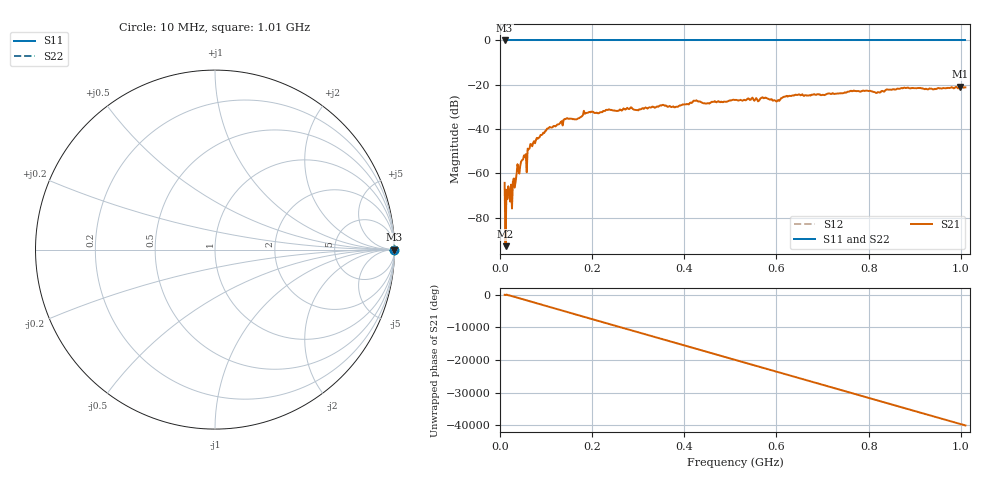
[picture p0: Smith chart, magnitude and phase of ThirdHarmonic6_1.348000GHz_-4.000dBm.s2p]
! 8/16/2025 3:09:20 PM
! C:\ANRITSUVNA\TEMP\TEMP.S2P
! CHANNEL.1
! TR.MEASUREMENT
! RAW.DATA
! RF.CORRECTION.OFF
! AVERAGING.OFF
! IF.BANDWIDTH: 5KHZ
! SWEEPTYPE:  FREQ.SWEEP(Linear)
! Reference Plane Port Info
! PORT:  PORT1  PORT2
! DISTANCE:  0  m  0  m
! TIME:  0  s  0  s
! PHASE.OFFSET:  0  deg.  0  deg.
! LOSS:  0  dB  0  dB
! REF.LOSS:  0  dB  0  dB
! REF.FREQ:  0  Hz  0  Hz
! Power Info
! POWER:  -20  dBm  -20  dBm
! EFF.POWER:  -20  dBm  -20  dBm
! SOURCE.ATTEN:  0  dB  0  dB
! TEST.ATTEN:  0  dB  0  dB
# GHZ S RI R 50.0
! FREQ.GHZ  S11RE  S11IM  S21RE  S21IM  S12RE  S12IM  S22RE  S22IM
!; PortSelection: Port_12
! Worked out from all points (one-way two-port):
!   501 points, 10 MHz to 1.01 GHz, reference 50 ohm
!   highest |S21| = -20.89 dB at 998 MHz (marker M1); lowest = -92.9 dB at 12 MHz (marker M2)
!   lowest |S11| = 0.0 dB at 10 MHz (marker M3)
!   |S11| at or under -10 dB: nowhere
!   |S22| runs from 0.0 to 0.0 dB; largest |S21 - S12| = 1.1
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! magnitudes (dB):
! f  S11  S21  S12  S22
! 10 MHz  0.0  -64.3  0.0  0.0
! 12 MHz  0.0  -92.9  0.0  0.0
! 16 MHz  0.0  -71.7  0.0  0.0
! 24 MHz  0.0  -65.1  0.0  0.0
! 34 MHz  0.0  -63.4  0.0  0.0
! 48 MHz  0.0  -54.0  0.0  0.0
! 52 MHz  0.0  -51.9  0.0  0.0
! 54 MHz  0.0  -52.5  0.0  0.0
! 62 MHz  0.0  -49.2  0.0  0.0
! 64 MHz  0.0  -48.8  0.0  0.0
! 70 MHz  0.0  -47.8  0.0  0.0
! 106 MHz  0.0  -39.4  0.0  0.0
! 178 MHz  0.0  -34.1  0.0  0.0
! 344 MHz  0.0  -29.9  0.0  0.0
! 510 MHz  0.0  -26.9  0.0  0.0
! 572 MHz  0.0  -26.1  0.0  0.0
! 602 MHz  0.0  -27.1  0.0  0.0
! 618 MHz  0.0  -25.4  0.0  0.0
! 678 MHz  0.0  -24.5  0.0  0.0
! 844 MHz  0.0  -22.2  0.0  0.0
! 998 MHz  0.0  -20.9  0.0  0.0
! 1.01 GHz  0.0  -21.2  0.0  0.0
